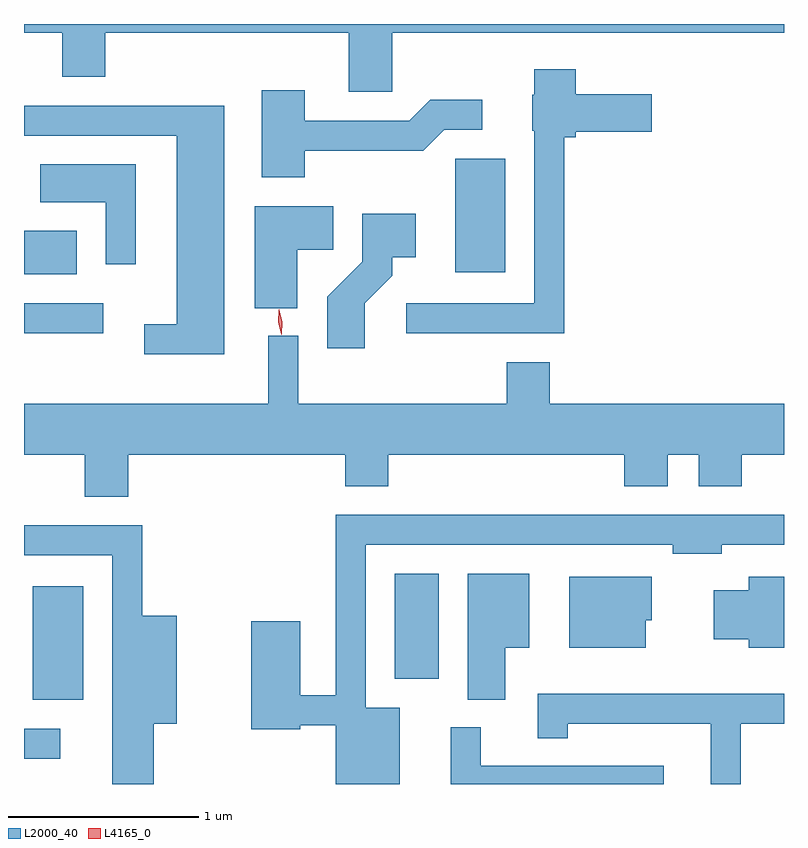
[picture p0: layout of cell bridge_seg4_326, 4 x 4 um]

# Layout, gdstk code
import gdstk
lib = gdstk.Library(unit=1e-6, precision=1e-09)
def R(c, l, rs):  # rectangles x0, y0, x1, y1
    for r in rs: c.add(gdstk.rectangle(r[:2], r[2:], *l))
def P(c, l, *ps):  # polygons
    for p in ps: c.add(gdstk.Polygon(p, *l))
L2000_40 = (2000, 40)
L4165_0 = (4165, 0)

bridge_seg4_326 = lib.new_cell('bridge_seg4_326')
R(bridge_seg4_326, L2000_40, [(730.221,1315.336,730.413,1315.494), (730.266,1315.646,730.534,1316.244), (732.171,1315.756,732.404,1316.309), (730.221,1317.576,730.638,1317.734), (730.221,1317.886,730.499,1318.114), (732.491,1317.896,732.754,1318.494)])
P(bridge_seg4_326, L2000_40, [(732.159,1319.156),(734.221,1319.156),(734.221,1319.203),(730.221,1319.203),(730.221,1319.156),(730.421,1319.156),(730.421,1318.926),(730.649,1318.926),(730.649,1319.156),(731.931,1319.156),(731.931,1318.846),(732.159,1318.846)],
  [(733.064,1318.606),(733.124,1318.606),(733.124,1318.636),(733.524,1318.636),(733.524,1318.834),(733.124,1318.834),(733.124,1318.964),(732.906,1318.964),(732.906,1318.83),(732.896,1318.83),(732.896,1318.64),(732.906,1318.64),(732.906,1317.734),(732.233,1317.734),(732.233,1317.576),(733.064,1317.576)],
  [(731.699,1318.536),(732.322,1318.536),(732.432,1318.646),(732.633,1318.646),(732.633,1318.804),(732.359,1318.804),(732.249,1318.694),(731.699,1318.694),(731.699,1318.854),(731.471,1318.854),(731.471,1318.396),(731.699,1318.396)],
  [(731.274,1318.774),(730.221,1318.774),(730.221,1318.616),(731.026,1318.616),(731.026,1317.624),(730.853,1317.624),(730.853,1317.466),(731.274,1317.466)],
  [(730.809,1318.464),(730.306,1318.464),(730.306,1318.266),(730.651,1318.266),(730.651,1317.938),(730.809,1317.938)],
  [(731.659,1318.016),(731.849,1318.016),(731.849,1318.244),(731.436,1318.244),(731.436,1317.706),(731.659,1317.706)],
  [(732.014,1317.734),(732.159,1317.879),(732.159,1317.976),(732.284,1317.976),(732.284,1318.204),(732.001,1318.204),(732.001,1317.952),(731.816,1317.767),(731.816,1317.496),(732.014,1317.496)],
  [(730.769,1316.936),(731.911,1316.936),(731.911,1316.771),(732.139,1316.771),(732.139,1316.936),(733.381,1316.936),(733.381,1316.771),(733.609,1316.771),(733.609,1316.936),(733.771,1316.936),(733.771,1316.771),(733.999,1316.771),(733.999,1316.936),(734.221,1316.936),(734.221,1317.204),(732.989,1317.204),(732.989,1317.424),(732.761,1317.424),(732.761,1317.204),(731.664,1317.204),(731.664,1317.563),(731.506,1317.563),(731.506,1317.204),(730.221,1317.204),(730.221,1316.936),(730.541,1316.936),(730.541,1316.716),(730.769,1316.716)],
  [(732.199,1315.604),(732.019,1315.604),(732.019,1316.461),(733.636,1316.461),(733.636,1316.416),(733.894,1316.416),(733.894,1316.461),(734.221,1316.461),(734.221,1316.619),(731.861,1316.619),(731.861,1315.669),(731.674,1315.669),(731.674,1316.059),(731.416,1316.059),(731.416,1315.491),(731.674,1315.491),(731.674,1315.511),(731.861,1315.511),(731.861,1315.203),(732.199,1315.203)],
  [(730.904,1315.521),(731.024,1315.521),(731.024,1316.089),(730.844,1316.089),(730.844,1316.564),(730.221,1316.564),(730.221,1316.406),(730.686,1316.406),(730.686,1315.203),(730.904,1315.203)],
  [(732.754,1315.921),(732.879,1315.921),(732.879,1316.309),(732.556,1316.309),(732.556,1315.646),(732.754,1315.646)],
  [(733.494,1316.066),(733.524,1316.066),(733.524,1316.294),(733.091,1316.294),(733.091,1315.921),(733.494,1315.921)],
  [(734.221,1316.294),(734.036,1316.294),(734.036,1316.224),(733.851,1316.224),(733.851,1315.966),(734.036,1315.966),(734.036,1315.921),(734.221,1315.921)],
  [(733.994,1315.521),(734.221,1315.521),(734.221,1315.679),(732.926,1315.679),(732.926,1315.443),(733.084,1315.443),(733.084,1315.521),(733.836,1315.521),(733.836,1315.203),(733.994,1315.203)],
  [(733.588,1315.299),(732.624,1315.299),(732.624,1315.503),(732.466,1315.503),(732.466,1315.203),(733.588,1315.203)])
P(bridge_seg4_326, L4165_0, [(731.577,1317.568),(731.576,1317.569),(731.56,1317.634),(731.563,1317.7),(731.564,1317.701),(731.564,1317.7),(731.58,1317.636),(731.577,1317.569)])

lib.write_gds('bridge_seg4_326.gds')
